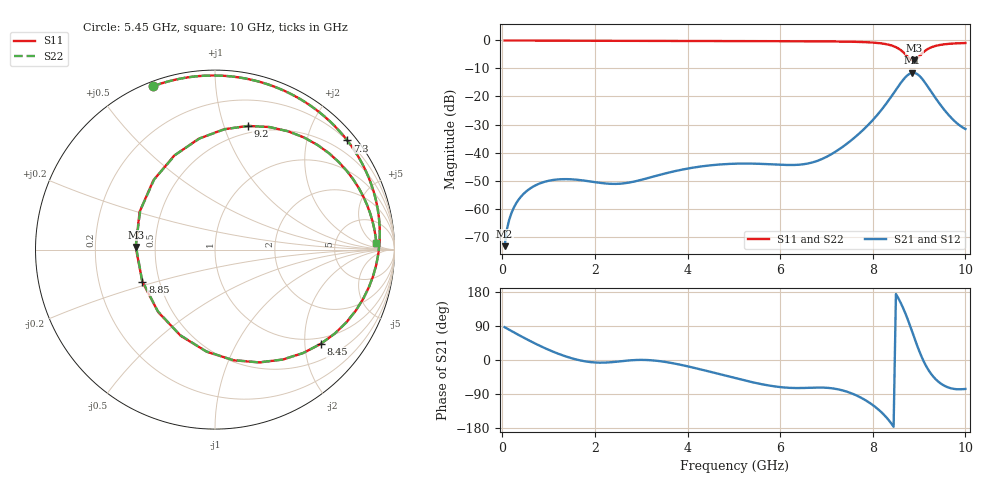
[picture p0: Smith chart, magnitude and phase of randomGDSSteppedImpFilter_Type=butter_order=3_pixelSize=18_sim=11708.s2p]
! freq	dB(S11)	phase(S11)	dB(S12)	phase(S12)
!  dB(S21)	phase(S21)	dB(S22)	phase(S22)
!S-par simulation data
#  GHz  S  DB  R 50
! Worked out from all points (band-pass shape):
!   200 points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, 50 MHz to 10 GHz, reference 50 ohm
!   highest |S21| = -11.55 dB at 8.85 GHz (marker M1); lowest = -73.4 dB at 50 MHz (marker M2)
!   |S21| within 3 dB of the highest: 8.633 GHz to 9.106 GHz (473.1 MHz wide, 5.33 % of centre)
!   lowest |S11| = -7.1 dB at 8.9 GHz (marker M3), VSWR 2.59, Z = 19.3 + j0.698 ohm
!   |S11| at or under -10 dB: nowhere
!   |S22| runs from -7.1 to 0.0 dB; largest |S21 - S12| = 0
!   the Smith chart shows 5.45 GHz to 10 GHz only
!   S11 on the Smith chart (normalised r, x): 5.45 GHz: 0.02, +0.69; 7.3 GHz: 0.20, +2.77; 8.45 GHz: 0.85, -2.36; 8.85 GHz: 0.40, -0.18; 9.2 GHz: 0.43, +1.20; 10 GHz: 16, +6
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0.05  -0.00 -3.5  -73.42 86.6  -73.42 86.6  -0.00 -3.5
0.2  -0.02 -13.7  -61.49 76.3  -61.49 76.3  -0.02 -13.7
0.5  -0.04 -33.8  -54.12 56.5  -54.12 56.5  -0.04 -33.8
1.1  -0.09 -71.3  -49.78 21.8  -49.78 21.8  -0.09 -71.3
1.75  -0.11 -106.7  -49.97 -2.7  -49.97 -2.7  -0.11 -106.7
2.55  -0.14 -143.3  -51.12 -3.4  -51.12 -3.4  -0.14 -143.3
3.4  -0.16 -176.7  -47.97 -3.0  -47.97 -3.0  -0.16 -176.7
4.2  -0.18 154.6  -45.18 -22.3  -45.18 -22.3  -0.18 154.6
5.05  -0.22 124.9  -43.97 -48.5  -43.97 -48.5  -0.22 124.9
5.45  -0.24 110.9  -43.97 -60.0  -43.97 -60.0  -0.24 110.9
6.7  -0.31 64.6  -43.52 -73.0  -43.52 -73.0  -0.31 64.6
7.3  -0.40 39.5  -38.55 -78.7  -38.55 -78.7  -0.40 39.5
7.95  -0.70 5.3  -29.31 -114.5  -29.31 -114.5  -0.70 5.2
8.35  -1.54 -28.8  -21.20 -159.5  -21.20 -159.5  -1.55 -28.9
8.45  -2.05 -41.7  -18.83 -176.2  -18.83 -176.2  -2.07 -41.9
8.65  -4.07 -80.4  -14.18 138.6  -14.18 138.6  -4.11 -80.9
8.85  -7.08 -156.1  -11.55 75.3  -11.55 75.3  -7.11 -157.3
8.9  -7.09 178.1  -11.56 57.9  -11.56 57.9  -7.10 176.9
9.05  -4.87 113.5  -13.37 9.8  -13.37 9.8  -4.84 112.6
9.2  -2.94 75.2  -16.76 -26.0  -16.76 -26.0  -2.92 74.7
9.5  -1.47 35.4  -23.84 -64.7  -23.84 -64.7  -1.46 35.2
10  -0.92 2.4  -31.59 -76.4  -31.59 -76.4  -0.91 2.3
